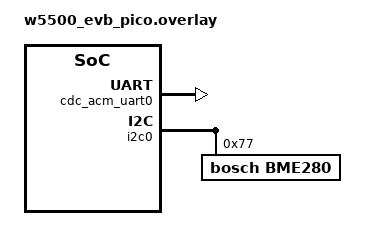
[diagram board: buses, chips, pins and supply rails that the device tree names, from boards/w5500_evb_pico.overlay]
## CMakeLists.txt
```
cmake_minimum_required(VERSION 3.20.0)

find_package(Zephyr REQUIRED HINTS $ENV{ZEPHYR_BASE})
project(w5500_pico_demo)

target_sources(app PRIVATE src/main.c)
```

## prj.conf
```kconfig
CONFIG_USB_DEVICE_STACK=y
CONFIG_USB_DEVICE_PRODUCT="RPi Pico USB Serial Console"
CONFIG_USB_DEVICE_VID=0001

CONFIG_SERIAL=y
CONFIG_CONSOLE=y
CONFIG_UART_CONSOLE=y
CONFIG_UART_LINE_CTRL=y

# Shell configuration
CONFIG_SHELL=y
CONFIG_SHELL_BACKEND_SERIAL=y
CONFIG_SHELL_PROMPT_UART="net_shell:~$ "

# Network Shell configuration
CONFIG_NET_SHELL=y
CONFIG_NET_L2_ETHERNET=y

# Additional networking config needed for shell
CONFIG_NET_CONFIG_LOG_LEVEL_INF=y
CONFIG_NET_BUF_RX_COUNT=80
CONFIG_NET_BUF_TX_COUNT=80
CONFIG_NET_PKT_RX_COUNT=16
CONFIG_NET_PKT_TX_COUNT=16
CONFIG_NET_CONTEXT_NET_PKT_POOL=y

# General config
CONFIG_MAIN_STACK_SIZE=2048
CONFIG_POSIX_API=y

# Networking config
CONFIG_NETWORKING=y
CONFIG_NET_IPV4=y
CONFIG_NET_IPV6=y
CONFIG_NET_TCP=y
CONFIG_NET_TCP_LOG_LEVEL_DBG=y
CONFIG_NET_SOCKETS=y
CONFIG_NET_IPV4_MAPPING_TO_IPV6=y

# Network driver config
CONFIG_TEST_RANDOM_GENERATOR=y

# Network address config
CONFIG_NET_CONFIG_SETTINGS=y
CONFIG_NET_CONFIG_NEED_IPV4=y
CONFIG_NET_CONFIG_NEED_IPV6=y
CONFIG_NET_CONFIG_MY_IPV4_ADDR="192.0.2.1"
CONFIG_NET_CONFIG_PEER_IPV4_ADDR="192.0.2.2"
CONFIG_NET_CONFIG_MY_IPV6_ADDR="2001:db8::1"
CONFIG_NET_CONFIG_PEER_IPV6_ADDR="2001:db8::2"

# Various Additional Tools
CONFIG_HTTP_SERVER=y # HTTP Server
CONFIG_WEBSOCKET_CLIENT=y # WebSocket Client
CONFIG_SENSOR=y
CONFIG_SENSOR_SHELL=y
CONFIG_SENSOR_INFO=y
CONFIG_GPIO=y
CONFIG_I2C=y
CONFIG_I2C_SHELL=y
CONFIG_BME280=y
CONFIG_BOOT_BANNER=n
CONFIG_JSON_LIBRARY=y
```

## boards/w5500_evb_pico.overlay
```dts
/ {
    chosen {
        zephyr,console = &cdc_acm_uart0;
        zephyr,shell-uart = &cdc_acm_uart0;
    };
};

&zephyr_udc0 {
    cdc_acm_uart0: cdc_acm_uart0 {
    	compatible = "zephyr,cdc-acm-uart";
        label = "CDC_ACM_0";
    };
};

&i2c0 {
    status = "okay";
	bme280@77 {
		compatible = "bosch,bme280";
		reg = <0x77>;
	};
};
```

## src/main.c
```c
#include <zephyr/kernel.h>
#include <zephyr/sys/printk.h>
#include <zephyr/shell/shell.h>
#include <zephyr/usb/usb_device.h>
#include <zephyr/drivers/uart.h>
#include <zephyr/net/net_if.h>
#include <zephyr/net/net_core.h>
#include <zephyr/net/net_mgmt.h>
#include <zephyr/drivers/sensor.h>
#include <zephyr/net/socket.h>

/* Check overlay exists for CDC UART console */
BUILD_ASSERT(DT_NODE_HAS_COMPAT(DT_CHOSEN(zephyr_console), zephyr_cdc_acm_uart),
	    "Console device is not ACM CDC UART device");

static const struct device *bme280_dev = DEVICE_DT_GET_ANY(bosch_bme280);

#define MAX_SERVER_ADDR_LEN 40
#define MAX_MSG_SIZE 128

static int send_sensor_data_tcp(const char *server_addr, uint16_t port)
{
    int sock, ret;
    struct sockaddr_in addr;
    char message[MAX_MSG_SIZE];
    struct sensor_value temp, press, humidity;

    /* Create socket */
    sock = socket(AF_INET, SOCK_STREAM, IPPROTO_TCP);
    if (sock < 0) {
        return -errno;
    }

    /* Set up server address */
    memset(&addr, 0, sizeof(addr));
    addr.sin_family = AF_INET;
    addr.sin_port = htons(port);
    ret = inet_pton(AF_INET, server_addr, &addr.sin_addr);
    if (ret <= 0) {
        close(sock);
        return -EINVAL;
    }

    /* Connect to server */
    ret = connect(sock, (struct sockaddr *)&addr, sizeof(addr));
    if (ret < 0) {
        close(sock);
        return -errno;
    }

    /* Read sensor data */
    ret = sensor_sample_fetch(bme280_dev);
    if (ret < 0) {
        close(sock);
        return ret;
    }

    sensor_channel_get(bme280_dev, SENSOR_CHAN_AMBIENT_TEMP, &temp);
    sensor_channel_get(bme280_dev, SENSOR_CHAN_PRESS, &press);
    sensor_channel_get(bme280_dev, SENSOR_CHAN_HUMIDITY, &humidity);

    /* Format message */
    snprintf(message, sizeof(message),
             "Temperature: %.2f C, Pressure: %.2f kPa, Humidity: %.2f %%\n",
             sensor_value_to_double(&temp),
             sensor_value_to_double(&press),
             sensor_value_to_double(&humidity));

    /* Send data */
    ret = send(sock, message, strlen(message), 0);
    close(sock);

    return (ret < 0) ? -errno : 0;
}

static int cmd_bme280_temp(const struct shell *shell, size_t argc, char *argv[])
{
    struct sensor_value temp;
    int rc = sensor_sample_fetch(bme280_dev);
    if (rc != 0) {
        shell_fprintf(shell, SHELL_ERROR, "Failed to fetch sample (%d)\n", rc);
        return -1;
    }

    rc = sensor_channel_get(bme280_dev, SENSOR_CHAN_AMBIENT_TEMP, &temp);
    if (rc != 0) {
        shell_fprintf(shell, SHELL_ERROR, "Failed to get temperature (%d)\n", rc);
        return -1;
    }

    shell_fprintf(shell, SHELL_NORMAL, "Temperature: %.2f °C\n",
                 sensor_value_to_double(&temp));
    return 0;
}

static int cmd_bme280_press(const struct shell *shell, size_t argc, char *argv[])
{
    struct sensor_value press;
    int rc = sensor_sample_fetch(bme280_dev);
    if (rc != 0) {
        shell_fprintf(shell, SHELL_ERROR, "Failed to fetch sample (%d)\n", rc);
        return -1;
    }

    rc = sensor_channel_get(bme280_dev, SENSOR_CHAN_PRESS, &press);
    if (rc != 0) {
        shell_fprintf(shell, SHELL_ERROR, "Failed to get pressure (%d)\n", rc);
        return -1;
    }

    shell_fprintf(shell, SHELL_NORMAL, "Pressure: %.2f kPa\n",
                 sensor_value_to_double(&press));
    return 0;
}

static int cmd_bme280_humidity(const struct shell *shell, size_t argc, char *argv[])
{
    struct sensor_value humidity;
    int rc = sensor_sample_fetch(bme280_dev);
    if (rc != 0) {
        shell_fprintf(shell, SHELL_ERROR, "Failed to fetch sample (%d)\n", rc);
        return -1;
    }

    rc = sensor_channel_get(bme280_dev, SENSOR_CHAN_HUMIDITY, &humidity);
    if (rc != 0) {
        shell_fprintf(shell, SHELL_ERROR, "Failed to get humidity (%d)\n", rc);
        return -1;
    }

    shell_fprintf(shell, SHELL_NORMAL, "Humidity: %.2f %%\n",
                 sensor_value_to_double(&humidity));
    return 0;
}

static int cmd_bme280_send(const struct shell *shell, size_t argc, char *argv[])
{
    if (argc != 3) {
        shell_fprintf(shell, SHELL_ERROR,
                     "Usage: bme280 send <server_ip> <port>\n"
                     "Example: bme280 send 192.168.1.100 4242\n");
        return -1;
    }

    const char *server_addr = argv[1];
    char *endptr;
    long port = strtol(argv[2], &endptr, 10);

    if (*endptr != '\0' || port <= 0 || port > 65535) {
        shell_fprintf(shell, SHELL_ERROR, "Invalid port number\n");
        return -1;
    }

    int ret = send_sensor_data_tcp(server_addr, (uint16_t)port);
    if (ret < 0) {
        shell_fprintf(shell, SHELL_ERROR, "Failed to send data: %d\n", ret);
        return -1;
    }

    shell_fprintf(shell, SHELL_NORMAL, "Data sent successfully\n");
    return 0;
}

SHELL_STATIC_SUBCMD_SET_CREATE(
    bme280_cmds,
    SHELL_CMD(temp, NULL, "Read BME280 temperature", cmd_bme280_temp),
    SHELL_CMD(press, NULL, "Read BME280 pressure", cmd_bme280_press),
    SHELL_CMD(humidity, NULL, "Read BME280 humidity", cmd_bme280_humidity),
    SHELL_CMD_ARG(send, NULL,
        "Send BME280 data to TCP server\n"
        "Usage: send <server_ip> <port>",
        cmd_bme280_send, 3, 0),
    SHELL_SUBCMD_SET_END
);

SHELL_CMD_REGISTER(bme280, &bme280_cmds, "BME280 sensor commands", NULL);

void main(void)
{
	const struct device *usb_dev = DEVICE_DT_GET(DT_CHOSEN(zephyr_console));
	uint32_t dtr = 0;
	struct net_if *iface;

	if (usb_enable(NULL)) {
		return;
	}

	/* Wait for DTR to be set before starting shell */
	while (!dtr) {
		uart_line_ctrl_get(usb_dev, UART_LINE_CTRL_DTR, &dtr);
		k_sleep(K_MSEC(100));
	}

	/* Check if BME280 is ready */
	if (!device_is_ready(bme280_dev)) {
		printk("BME280 device not ready\n");
		return;
	}

	/* Initialize networking */
	iface = net_if_get_default();
	if (!iface) {
		printk("No network interface available\n");
		return;
	}

	/* Wait for network interface to be up */
	if (!net_if_is_up(iface)) {
		net_if_up(iface);
		k_msleep(500); /* Give some time for the network to initialize */
	}

	/* The shell is now ready for input */
	k_sleep(K_FOREVER);
}
```
